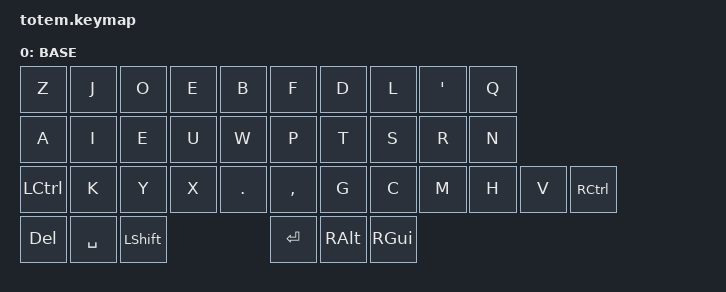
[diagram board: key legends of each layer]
#include <behaviors.dtsi>
#include <dt-bindings/zmk/keys.h>
#include <dt-bindings/zmk/bt.h>

#define BASE 0

/ {
    keymap {
        compatible = "zmk,keymap";

        base_layer {
            label = "BASE";

            bindings = <
                &kp Z      &kp J      &kp O      &kp E      &kp B        &kp F      &kp D      &kp L      &kp SQT    &kp Q
                &kp A      &kp I      &kp E      &kp U      &kp W        &kp P      &kp T      &kp S      &kp R      &kp N
                &kp LCTRL  &kp K      &kp Y      &kp X      &kp DOT    &kp COMMA    &kp G      &kp C      &kp M      &kp H      &kp V      &kp RCTRL
                &kp DEL    &kp SPACE  &kp LSHFT                         &kp RET    &kp RALT   &kp RGUI
            >;
        };
    };
};
